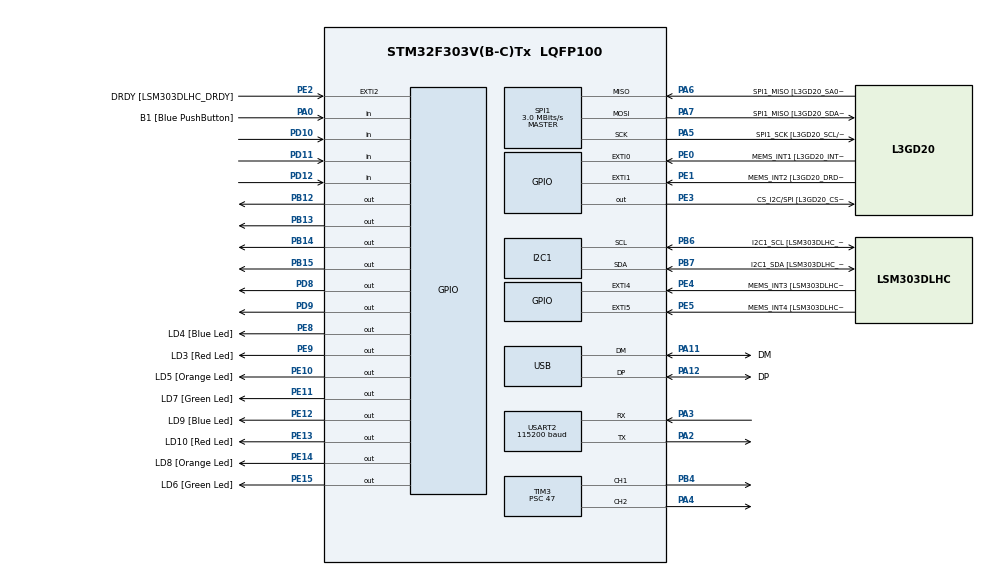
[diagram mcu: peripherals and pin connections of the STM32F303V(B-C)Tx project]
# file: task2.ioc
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I2C1.Timing=0x00201D2B
I2C1.Timing-I2C=0x2000090E
Mcu.Family=STM32F3
Mcu.Name=STM32F303V(B-C)Tx
Mcu.Package=LQFP100
NVIC.PriorityGroup=NVIC_PRIORITYGROUP_0
NVIC.TIM2_IRQn=true\:0\:0\:false\:false\:true\:true\:true\:true
NVIC.TIM3_IRQn=true\:0\:0\:false\:false\:true\:true\:true\:true
NVIC.USB_LP_CAN_RX0_IRQn=true\:0\:0\:false\:false\:true\:false\:true\:true
PA0.GPIO_Label=B1 [Blue PushButton]
PA0.Signal=GPIO_Input
PA11.GPIO_Label=DM
PA11.Mode=Device
PA11.Signal=USB_DM
PA12.GPIO_Label=DP
PA12.Mode=Device
PA12.Signal=USB_DP
PA13.GPIO_Label=SWDIO
PA13.Mode=Serial_Wire
PA13.Signal=SYS_JTMS-SWDIO
PA14.GPIO_Label=SWCLK
PA14.Mode=Serial_Wire
PA14.Signal=SYS_JTCK-SWCLK
PA2.Mode=Asynchronous
PA2.Signal=USART2_TX
PA3.Mode=Asynchronous
PA3.Signal=USART2_RX
PA4.Signal=S_TIM3_CH2
PA5.GPIO_Label=SPI1_SCK [L3GD20_SCL/SPC]
PA5.Mode=Full_Duplex_Master
PA5.Signal=SPI1_SCK
PA6.GPIO_Label=SPI1_MISO [L3GD20_SA0/SDO]
PA6.Mode=Full_Duplex_Master
PA6.Signal=SPI1_MISO
PA7.GPIO_Label=SPI1_MISO [L3GD20_SDA/SDI/SDO]
PA7.Mode=Full_Duplex_Master
PA7.Signal=SPI1_MOSI
PB12.Signal=GPIO_Output
PB13.Signal=GPIO_Output
PB14.Signal=GPIO_Output
PB15.Signal=GPIO_Output
PB3.GPIO_Label=SWO
PB3.Signal=SYS_JTDO-TRACESWO
PB4.Signal=S_TIM3_CH1
PB6.GPIO_Label=I2C1_SCL [LSM303DLHC_SCL]
PB6.GPIO_Pu=GPIO_PULLUP
PB6.Mode=I2C
PB6.Signal=I2C1_SCL
PB7.GPIO_Label=I2C1_SDA [LSM303DLHC_SDA]
PB7.GPIO_Pu=GPIO_PULLUP
PB7.Mode=I2C
PB7.Signal=I2C1_SDA
PC14-OSC32_IN.GPIO_Label=OSC32_IN
PC14-OSC32_IN.Signal=RCC_OSC32_IN
PC15-OSC32_OUT.GPIO_Label=OSC32_OUT
PC15-OSC32_OUT.Signal=RCC_OSC32_OUT
PD10.Signal=GPIO_Input
PD11.Signal=GPIO_Input
PD12.Signal=GPIO_Input
PD8.Signal=GPIO_Output
PD9.Signal=GPIO_Output
PE0.GPIO_Label=MEMS_INT1 [L3GD20_INT1]
PE0.GPIO_ModeDefaultEXTI=GPIO_MODE_EVT_RISING
PE0.Signal=GPXTI0
PE1.GPIO_Label=MEMS_INT2 [L3GD20_DRDY/INT2]
PE1.GPIO_ModeDefaultEXTI=GPIO_MODE_EVT_RISING
PE1.Signal=GPXTI1
PE10.GPIO_Label=LD5 [Orange Led]
PE10.Signal=GPIO_Output
PE11.GPIO_Label=LD7 [Green Led]
PE11.Signal=GPIO_Output
PE12.GPIO_Label=LD9 [Blue Led]
PE12.Signal=GPIO_Output
PE13.GPIO_Label=LD10 [Red Led]
PE13.Signal=GPIO_Output
PE14.GPIO_Label=LD8 [Orange Led]
PE14.Signal=GPIO_Output
PE15.GPIO_Label=LD6 [Green Led]
PE15.Signal=GPIO_Output
PE2.GPIO_Label=DRDY [LSM303DLHC_DRDY]
PE2.GPIO_ModeDefaultEXTI=GPIO_MODE_EVT_RISING
PE2.Signal=GPXTI2
PE3.GPIO_Label=CS_I2C/SPI [L3GD20_CS_I2C/SPI]
PE3.Signal=GPIO_Output
PE4.GPIO_Label=MEMS_INT3 [LSM303DLHC_INT1]
PE4.GPIO_ModeDefaultEXTI=GPIO_MODE_EVT_RISING
PE4.Signal=GPXTI4
PE5.GPIO_Label=MEMS_INT4 [LSM303DLHC_INT2]
PE5.GPIO_ModeDefaultEXTI=GPIO_MODE_EVT_RISING
PE5.Signal=GPXTI5
PE8.GPIO_Label=LD4 [Blue Led]
PE8.Signal=GPIO_Output
PE9.GPIO_Label=LD3 [Red Led]
PE9.Signal=GPIO_Output
PF0-OSC_IN.GPIO_Label=OSC_IN
PF0-OSC_IN.Mode=HSE-External-Clock-Source
PF0-OSC_IN.Signal=RCC_OSC_IN
PF1-OSC_OUT.GPIO_Label=OSC_OUT
PF1-OSC_OUT.Signal=RCC_OSC_OUT
ProjectManager.HeapSize=0x200
ProjectManager.StackSize=0x400
ProjectManager.TargetToolchain=CMake
RCC.AHBFreq_Value=48000000
RCC.APB1CLKDivider=RCC_HCLK_DIV2
RCC.APB1Freq_Value=24000000
RCC.APB1TimFreq_Value=48000000
RCC.APB2Freq_Value=48000000
RCC.APB2TimFreq_Value=48000000
RCC.CortexFreq_Value=48000000
RCC.HCLKFreq_Value=48000000
RCC.HSE_VALUE=8000000
RCC.HSI_VALUE=8000000
RCC.LSE_VALUE=32768
RCC.PLLMUL=RCC_PLL_MUL6
RCC.SYSCLKFreq_VALUE=48000000
RCC.SYSCLKSourceVirtual=RCC_SYSCLKSOURCE_PLLCLK
RCC.USBFreq_Value=48000000
SH.S_TIM3_CH1.0=TIM3_CH1,PWM Generation1 CH1
SH.S_TIM3_CH2.0=TIM3_CH2,PWM Generation2 CH2
SPI1.BaudRatePrescaler=SPI_BAUDRATEPRESCALER_16
SPI1.BaudRatePrescaler-Full_Duplex_Master=SPI_BAUDRATEPRESCALER_2
SPI1.CLKPhase=SPI_PHASE_2EDGE
SPI1.CLKPolarity=SPI_POLARITY_HIGH
SPI1.CalculateBaudRate=3.0 MBits/s
SPI1.CalculateBaudRate-Full_Duplex_Master=24.0 MBits/s
SPI1.DataSize=SPI_DATASIZE_8BIT
SPI1.Direction=SPI_DIRECTION_2LINES
SPI1.Mode=SPI_MODE_MASTER
SPI1.Mode-Full_Duplex_Master=SPI_MODE_MASTER
SPI1.VirtualType=VM_MASTER
TIM2.Period=4999
TIM2.Prescaler=47
TIM3.Channel-PWM\ Generation1\ CH1=TIM_CHANNEL_1
TIM3.Channel-PWM\ Generation2\ CH2=TIM_CHANNEL_2
TIM3.Period=999
TIM3.Prescaler=47
USART2.BaudRate=115200
USART2.VirtualMode-Asynchronous=VM_ASYNC
USB_DEVICE.CLASS_NAME_FS=CDC
USB_DEVICE.VirtualMode=Cdc
USB_DEVICE.VirtualModeFS=Cdc_FS
VP_TIM2_VS_ClockSourceINT.Mode=Internal
VP_TIM3_VS_ClockSourceINT.Mode=Internal
VP_USB_DEVICE_VS_USB_DEVICE_CDC_FS.Mode=CDC_FS
board=STM32F3DISCOVERY

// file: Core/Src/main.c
/* USER CODE BEGIN Header */
/**
******************************************************************************
* @file : main.c
* @brief : Lab 11 Task 2 - PID Controller for Self-Balancing Robot
******************************************************************************
* TIM2 = 200Hz control loop ISR (complementary filter + PID)
* TIM3 = PWM generation for motors (CH1=left on PB4, CH2=right on PA4)
* Motor direction pins:
* Left motor: PB12 (IN1), PB13 (IN2)
* Right motor: PB14 (IN1), PB15 (IN2)
******************************************************************************
*/
/* USER CODE END Header */
#include "main.h"
#include "usb_device.h"

/* USER CODE BEGIN Includes */
#include <math.h>
#include <stdio.h>
#include <string.h>
#include <stdarg.h>
/* USER CODE END Includes */

/* USER CODE BEGIN PD */

// Sampling Time
#define DT 0.005f

// PID Controller Structure
typedef struct {
float kp; // Proportional gain
float ki; // Integral gain
float kd; // Derivative gain
float setpoint; // Target angle (degrees)
float integral; // Accumulated integral error
float prev_error; // Previous error for derivative
float output_max; // Maximum output limit
float output_min; // Minimum output limit
float integral_max; // Anti-windup limit (positive)
float integral_min; // Anti-windup limit (negative)
} PIDController;

// Sensor Fusion Structure
typedef struct {
float gyro_rate_dps; // Gyro angular velocity (deg/s)
float acc_angle_deg; // Accelerometer-derived angle (deg)
float tilt_angle; // Fused tilt angle estimate (deg)
} AngleEstimate;

// // PID Gains
// #define KP 80.0f
// #define KI 0.08f
// #define KD 2.10f

// PID Gains - Initial Starting Point (will be updated by adaptive scheduling)
#define KP_DEFAULT 70.0f
#define KI_DEFAULT 0.02f
#define KD_DEFAULT 1.4f

// Setpoint
#define SETPOINT 0.0f

// Adaptive Gain Scheduling Thresholds (in degrees)
#define ANGLE_THRESHOLD_LOW 2.0f // < 2°: conservative gains
#define ANGLE_THRESHOLD_HIGH 8.0f // > 8°: aggressive gains

// Conservative Gains (near upright, small angle) - Stable, low overshoot
#define KP_CONSERVATIVE 55.0f
#define KI_CONSERVATIVE 0.01f
#define KD_CONSERVATIVE 1.0f

// Medium Gains (medium angle) - Balanced response
#define KP_MEDIUM 70.0f
#define KI_MEDIUM 0.04f
#define KD_MEDIUM 1.4f

// Aggressive Gains (large angle) - Fast correction
#define KP_AGGRESSIVE 80.0f
#define KI_AGGRESSIVE 0.06f
#define KD_AGGRESSIVE 2.0f

// Start from zero; runtime calibration computes the actual offsets.
#define ACC_CALIBRATION_OFFSET 0.0f

// Upright deadband in degrees. Inside this band, stop the motors.
#define BALANCE_DEADBAND_DEG 0.2f

// Motor matching and anti-creep settings
#define MOTOR_CMD_DEADZONE 25.0f // PID command below this is treated as zero
#define MOTOR_MIN_START_PWM 90u // Overcome static friction
#define LEFT_MOTOR_GAIN 1.00f
#define RIGHT_MOTOR_GAIN 1.15f // Right wheel boost (was slower)

// Output Limits
#define PID_OUT_MAX 999.0f
#define PID_OUT_MIN -999.0f

// Integral Anti-Windup Limit
#define INTEGRAL_MAX 200.0f
#define INTEGRAL_MIN -200.0f

// Complementary Filter Weights
#define COMP_GYRO_WEIGHT 0.98f
#define COMP_ACC_WEIGHT 0.02f

// Sensor Configuration
#define GYRO_SCALE_DPS 0.00875f
#define GYRO_OUT_Y_L_REG 0x2A // Y-axis output low byte
#define GYRO_OUT_Y_H_REG 0x2B // Y-axis output high byte
#define ACC_ADDRESS_WRITE 0x32 // I2C write address
#define ACC_ADDRESS_READ 0x33 // I2C read address
#define ACC_OUT_X_PAGE 0x28 // Output X register
#define ACC_READ_AUTOINC 0x80 // Auto-increment bit for I2C

/* USER CODE END PD */

I2C_HandleTypeDef hi2c1;

SPI_HandleTypeDef hspi1;

TIM_HandleTypeDef htim2;
TIM_HandleTypeDef htim3;

UART_HandleTypeDef huart2;

/* USER CODE BEGIN PV */

// Angle Estimation Variables
volatile float shared_angle = 0.0f; // Bridge between ISR and main
volatile float shared_pid_out = 0.0f; // PID output for display
volatile uint8_t display_flag = 0;

// Sensor measurements for display/debug
volatile float gyro_rate = 0.0f;
volatile float acc_angle = 0.0f;

// Runtime calibration values
float gyro_bias = 0.0f;
float acc_offset = ACC_CALIBRATION_OFFSET;

/* USER CODE END PV */

void SystemClock_Config(void);
static void MX_GPIO_Init(void);
static void MX_I2C1_Init(void);
static void MX_SPI1_Init(void);
static void MX_TIM3_Init(void);
static void MX_TIM2_Init(void);
static void MX_USART2_UART_Init(void);

/* USER CODE BEGIN 0 */

uint8_t I3G_ReadReg(uint8_t reg_addr) {
uint8_t tx_data = reg_addr | 0x80; // Bit 7 = 1 for READ
uint8_t rx_data;

HAL_GPIO_WritePin(GPIOE, GPIO_PIN_3, GPIO_PIN_RESET);
HAL_SPI_Transmit(&hspi1, &tx_data, 1, HAL_MAX_DELAY);
HAL_SPI_Receive(&hspi1, &rx_data, 1, HAL_MAX_DELAY);
HAL_GPIO_WritePin(GPIOE, GPIO_PIN_3, GPIO_PIN_SET);

return rx_data;
}

// Helper Functions for Sensor Data Acquisition

float Read_Gyro_Y_Raw(void) {
uint8_t y_low = I3G_ReadReg(GYRO_OUT_Y_L_REG);
uint8_t y_high = I3G_ReadReg(GYRO_OUT_Y_H_REG);
int16_t raw_gyro_y = (int16_t)((y_high << 8) | y_low);
return (float)raw_gyro_y * GYRO_SCALE_DPS;
}

// Read gyroscope Y-axis with runtime bias correction
float Read_Gyro_Y(void) {
return Read_Gyro_Y_Raw() - gyro_bias;
}

float Read_Acc_Pitch_Raw(void) {
uint8_t acc_reg = ACC_OUT_X_PAGE | ACC_READ_AUTOINC;
uint8_t acc_buf[6] = {0};

HAL_I2C_Master_Transmit(&hi2c1, ACC_ADDRESS_WRITE, &acc_reg, 1, 10);
HAL_I2C_Master_Receive(&hi2c1, ACC_ADDRESS_READ, acc_buf, 6, 10);

int16_t acc_raw_x = (int16_t)((acc_buf[1] << 8) | acc_buf[0]);
int16_t acc_raw_z = (int16_t)((acc_buf[5] << 8) | acc_buf[4]);

return atan2f((float)acc_raw_x, (float)acc_raw_z) * (180.0f / 3.14159f);
}

// Read accelerometer pitch with runtime offset correction
float Read_Acc_Pitch(void) {
return Read_Acc_Pitch_Raw() + acc_offset;
}

// Initialize PID controller with default values
void PID_Init(PIDController *pid) {
pid->kp = KP_DEFAULT;
pid->ki = KI_DEFAULT;
pid->kd = KD_DEFAULT;
pid->setpoint = SETPOINT;
pid->integral = 0.0f;
pid->prev_error = 0.0f;
pid->output_max = PID_OUT_MAX;
pid->output_min = PID_OUT_MIN;
pid->integral_max = INTEGRAL_MAX;
pid->integral_min = INTEGRAL_MIN;
}

// Compute PID output given measured error
float PID_Update(PIDController *pid, float error) {
// P
float p_term = pid->kp * error;

// I
pid->integral += pid->ki * error * DT;
if (pid->integral > pid->integral_max) pid->integral = pid->integral_max;
if (pid->integral < pid->integral_min) pid->integral = pid->integral_min;

// D
float derivative = (error - pid->prev_error) / DT;
float d_term = pid->kd * derivative;
pid->prev_error = error;

// Total PID
float output = p_term + pid->integral + d_term;

// final output
if (output > pid->output_max) output = pid->output_max;
if (output < pid->output_min) output = pid->output_min;

return output;
}

// ============================================================
// Adaptive Gain Scheduling
// ============================================================
// Adjusts PID gains based on the magnitude of the tilt angle.
// Smaller angles near upright use conservative (stable) gains.
// Larger angles during falling use aggressive (corrective) gains.
void PID_Update_Gains_Adaptive(PIDController *pid, float tilt_angle_deg) {
float abs_angle = fabsf(tilt_angle_deg);
if (abs_angle < ANGLE_THRESHOLD_LOW) {
// Very small angle: use conservative gains for stability
pid->kp = KP_CONSERVATIVE;
pid->ki = KI_CONSERVATIVE;
pid->kd = KD_CONSERVATIVE;
}
else if (abs_angle < ANGLE_THRESHOLD_HIGH) {
// Medium angle: use medium gains for balanced response
pid->kp = KP_MEDIUM;
pid->ki = KI_MEDIUM;
pid->kd = KD_MEDIUM;
}
else {
// Large angle: use aggressive gains for fast correction
pid->kp = KP_AGGRESSIVE;
pid->ki = KI_AGGRESSIVE;
pid->kd = KD_AGGRESSIVE;
}
}

// Complementary Filter for Angle Estimation
float Complementary_Filter(float prev_angle, float gyro_rate_dps, float acc_angle_deg) {
float gyro_contribution = (prev_angle + gyro_rate_dps * DT) * COMP_GYRO_WEIGHT;
float acc_contribution = acc_angle_deg * COMP_ACC_WEIGHT;
return gyro_contribution + acc_contribution;
}

// Gyroscope SPI Register Access
void I3G_WriteReg(uint8_t reg_addr, uint8_t data) {
uint8_t tx_buffer[2];
tx_buffer[0] = reg_addr & 0x7F;
tx_buffer[1] = data;

HAL_GPIO_WritePin(GPIOE, GPIO_PIN_3, GPIO_PIN_RESET); // CS LOW
HAL_SPI_Transmit(&hspi1, tx_buffer, 2, HAL_MAX_DELAY);
HAL_GPIO_WritePin(GPIOE, GPIO_PIN_3, GPIO_PIN_SET); // CS HIGH
}

/*
* Motor Control Functions
*
*
* Left Motor:
* PWM -> TIM3_CH1 (PB4)
* IN1 -> PB12 => Shield pin D6
* IN2 -> PB13 => Shield pin D7
*
* Right Motor:
* PWM -> TIM3_CH2 (PA4) => Shield pin D10
* IN1 -> PB14 => Shield pin D8
* IN2 -> PB15 => Shield pin D12
*
* Direction logic (L298N style):
* Forward (CW): IN1=HIGH, IN2=LOW
* Backward (CCW): IN1=LOW, IN2=HIGH
* Brake/Stop: IN1=LOW, IN2=LOW
*/

// void Motor_Left_Forward(uint16_t speed) {
// HAL_GPIO_WritePin(GPIOB, GPIO_PIN_12, GPIO_PIN_RESET); // IN1 = HIGH
// HAL_GPIO_WritePin(GPIOB, GPIO_PIN_13, GPIO_PIN_SET); // IN2 = LOW
// __HAL_TIM_SET_COMPARE(&htim3, TIM_CHANNEL_1, speed);
// }

// void Motor_Left_Backward(uint16_t speed) {
// HAL_GPIO_WritePin(GPIOB, GPIO_PIN_12, GPIO_PIN_SET); // IN1 = LOW
// HAL_GPIO_WritePin(GPIOB, GPIO_PIN_13, GPIO_PIN_RESET); // IN2 = HIGH
// __HAL_TIM_SET_COMPARE(&htim3, TIM_CHANNEL_1, speed);
// }

void Motor_Left_Forward(uint16_t speed) {
HAL_GPIO_WritePin(GPIOB, GPIO_PIN_12, GPIO_PIN_SET); // IN1 = HIGH
HAL_GPIO_WritePin(GPIOB, GPIO_PIN_13, GPIO_PIN_RESET); // IN2 = LOW
__HAL_TIM_SET_COMPARE(&htim3, TIM_CHANNEL_1, speed);
}

void Motor_Left_Backward(uint16_t speed) {
HAL_GPIO_WritePin(GPIOB, GPIO_PIN_12, GPIO_PIN_RESET); // IN1 = LOW
HAL_GPIO_WritePin(GPIOB, GPIO_PIN_13, GPIO_PIN_SET); // IN2 = HIGH
__HAL_TIM_SET_COMPARE(&htim3, TIM_CHANNEL_1, speed);
}

void Motor_Left_Stop(void) {
HAL_GPIO_WritePin(GPIOB, GPIO_PIN_12, GPIO_PIN_RESET);
HAL_GPIO_WritePin(GPIOB, GPIO_PIN_13, GPIO_PIN_RESET);
__HAL_TIM_SET_COMPARE(&htim3, TIM_CHANNEL_1, 0);
}

void Motor_Right_Forward(uint16_t speed) {
// SWAP THESE: Original was SET then RESET
HAL_GPIO_WritePin(GPIOB, GPIO_PIN_14, GPIO_PIN_RESET); // IN1 = LOW
HAL_GPIO_WritePin(GPIOB, GPIO_PIN_15, GPIO_PIN_SET); // IN2 = HIGH
__HAL_TIM_SET_COMPARE(&htim3, TIM_CHANNEL_2, speed);
}

void Motor_Right_Backward(uint16_t speed) {
// SWAP THESE: Original was RESET then SET
HAL_GPIO_WritePin(GPIOB, GPIO_PIN_14, GPIO_PIN_SET); // IN1 = HIGH
HAL_GPIO_WritePin(GPIOB, GPIO_PIN_15, GPIO_PIN_RESET); // IN2 = LOW
__HAL_TIM_SET_COMPARE(&htim3, TIM_CHANNEL_2, speed);
// }

// void Motor_Right_Forward(uint16_t speed) {
// HAL_GPIO_WritePin(GPIOB, GPIO_PIN_14, GPIO_PIN_SET); // IN1 = HIGH
// HAL_GPIO_WritePin(GPIOB, GPIO_PIN_15, GPIO_PIN_RESET); // IN2 = LOW
// __HAL_TIM_SET_COMPARE(&htim3, TIM_CHANNEL_2, speed);
// }

// void Motor_Right_Backward(uint16_t speed) {
// HAL_GPIO_WritePin(GPIOB, GPIO_PIN_14, GPIO_PIN_RESET); // IN1 = LOW
// HAL_GPIO_WritePin(GPIOB, GPIO_PIN_15, GPIO_PIN_SET); // IN2 = HIGH
// __HAL_TIM_SET_COMPARE(&htim3, TIM_CHANNEL_2, speed);
}

void Motor_Right_Stop(void) {
HAL_GPIO_WritePin(GPIOB, GPIO_PIN_14, GPIO_PIN_RESET);
HAL_GPIO_WritePin(GPIOB, GPIO_PIN_15, GPIO_PIN_RESET);
__HAL_TIM_SET_COMPARE(&htim3, TIM_CHANNEL_2, 0);
}

static uint16_t Scale_Motor_PWM(float base_pwm, float gain) {
float pwm = base_pwm * gain;

if (pwm > 0.0f && pwm < (float)MOTOR_MIN_START_PWM) {
pwm = (float)MOTOR_MIN_START_PWM;
}

if (pwm > PID_OUT_MAX) {
pwm = PID_OUT_MAX;
}

return (uint16_t)pwm;
}

void Motors_Stop(void) {
Motor_Left_Stop();
Motor_Right_Stop();
}

void Motors_Drive(float pid_output) {
float cmd = fabsf(pid_output);

// Suppress tiny commands that cause one-wheel creeping near upright.
if (cmd < MOTOR_CMD_DEADZONE) {
Motors_Stop();
return;
}

uint16_t left_pwm = Scale_Motor_PWM(cmd, LEFT_MOTOR_GAIN);
uint16_t right_pwm = Scale_Motor_PWM(cmd, RIGHT_MOTOR_GAIN);

if (pid_output > 0.0f) {
// Positive output: drive forward
Motor_Left_Forward(left_pwm);
Motor_Right_Forward(right_pwm);
}
else if (pid_output < 0.0f) {
// Negative output: drive backward
Motor_Left_Backward(left_pwm);
Motor_Right_Backward(right_pwm);
}
else {
// Zero output: stop motors
Motor_Left_Stop();
Motor_Right_Stop();
}
}

void cout(const char *fmt, ...) {
char buffer[128];
va_list args;
va_start(args, fmt);
int l = vsnprintf(buffer, sizeof(buffer), fmt, args);
va_end(args);
if (l > 0) {
HAL_UART_Transmit(&huart2, (uint8_t*)buffer, l, HAL_MAX_DELAY);
}
}

void Reset_Calibration(void) {
gyro_bias = 0.0f;
acc_offset = ACC_CALIBRATION_OFFSET;
}

void Calibrate_Sensors_Zero(void) {
const int gyro_samples = 300;
const int acc_samples = 300;
float sum_gyro = 0.0f;
float sum_acc = 0.0f;

//cout("Calib: keep robot upright and still...\r\n");

for (int i = 0; i < gyro_samples; i++) {
sum_gyro += Read_Gyro_Y_Raw();
HAL_Delay(2);
}

gyro_bias = sum_gyro / (float)gyro_samples;

for (int i = 0; i < acc_samples; i++) {
sum_acc += Read_Acc_Pitch_Raw();
HAL_Delay(2);
}

// Make measured upright angle become 0 deg.
acc_offset = -(sum_acc / (float)acc_samples);

int32_t gyro_bias_mdps = (int32_t)(gyro_bias * 1000.0f);
int32_t acc_offset_mdeg = (int32_t)(acc_offset * 1000.0f);
// cout("Calib done: GB=%ld mdps AO=%ld mdeg\r\n",
// (long)gyro_bias_mdps,
// (long)acc_offset_mdeg);
}

/* USER CODE END 0 */

int main(void)
{

/* USER CODE BEGIN 1 */
// PIDController pid_controller;
/* USER CODE END 1 */

/* Reset of all peripherals, Initializes the Flash interface and the Systick. */
HAL_Init();

/* Configure the system clock */
SystemClock_Config();

/* Initialize all configured peripherals */
MX_GPIO_Init();
MX_I2C1_Init();
MX_SPI1_Init();
MX_TIM3_Init();
MX_USB_DEVICE_Init();
MX_TIM2_Init();
MX_USART2_UART_Init();
/* USER CODE BEGIN 2 */
// 1. Initialize Sensors
I3G_WriteReg(0x20, 0x4F); // Gyro on
uint8_t acc_init[2] = {0x20, 0x57};
HAL_I2C_Master_Transmit(&hi2c1, 0x32, acc_init, 2, 50);

// Reset old offsets and calibrate fresh from zero.
Reset_Calibration();
Calibrate_Sensors_Zero();

// 2. Start PWM
HAL_TIM_PWM_Start(&htim3, TIM_CHANNEL_1);
HAL_TIM_PWM_Start(&htim3, TIM_CHANNEL_2);

// 3. Start Timer Interrupt
HAL_TIM_Base_Start_IT(&htim2);
/* USER CODE END 2 */

/* Infinite loop */
while (1)
{

/* USER CODE BEGIN 3 */

if (display_flag) {
display_flag = 0;

int32_t gyro_mdps = (int32_t)(gyro_rate * 1000.0f);
int32_t acc_mdeg = (int32_t)(acc_angle * 1000.0f);
int32_t angle_mdeg = (int32_t)(shared_angle * 1000.0f);
int32_t pid_mout = (int32_t)(shared_pid_out * 1000.0f);

cout("GYRO=%ld mdps ACC=%ld mdeg ANGLE=%ld mdeg PID=%ld m\r\n",
(long)gyro_mdps,
(long)acc_mdeg,
(long)angle_mdeg,
(long)pid_mout);
}
}
/* USER CODE END 3 */
}

void SystemClock_Config(void)
{
RCC_OscInitTypeDef RCC_OscInitStruct = {0};
RCC_ClkInitTypeDef RCC_ClkInitStruct = {0};
RCC_PeriphCLKInitTypeDef PeriphClkInit = {0};

/** Initializes the RCC Oscillators according to the specified parameters
* in the RCC_OscInitTypeDef structure.
*/
RCC_OscInitStruct.OscillatorType = RCC_OSCILLATORTYPE_HSI|RCC_OSCILLATORTYPE_HSE;
RCC_OscInitStruct.HSEState = RCC_HSE_BYPASS;
RCC_OscInitStruct.HSEPredivValue = RCC_HSE_PREDIV_DIV1;
RCC_OscInitStruct.HSIState = RCC_HSI_ON;
RCC_OscInitStruct.HSICalibrationValue = RCC_HSICALIBRATION_DEFAULT;
RCC_OscInitStruct.PLL.PLLState = RCC_PLL_ON;
RCC_OscInitStruct.PLL.PLLSource = RCC_PLLSOURCE_HSE;
RCC_OscInitStruct.PLL.PLLMUL = RCC_PLL_MUL6;
if (HAL_RCC_OscConfig(&RCC_OscInitStruct) != HAL_OK)
{
Error_Handler();
}

/** Initializes the CPU, AHB and APB buses clocks
*/
RCC_ClkInitStruct.ClockType = RCC_CLOCKTYPE_HCLK|RCC_CLOCKTYPE_SYSCLK
|RCC_CLOCKTYPE_PCLK1|RCC_CLOCKTYPE_PCLK2;
RCC_ClkInitStruct.SYSCLKSource = RCC_SYSCLKSOURCE_PLLCLK;
RCC_ClkInitStruct.AHBCLKDivider = RCC_SYSCLK_DIV1;
RCC_ClkInitStruct.APB1CLKDivider = RCC_HCLK_DIV2;
RCC_ClkInitStruct.APB2CLKDivider = RCC_HCLK_DIV1;

if (HAL_RCC_ClockConfig(&RCC_ClkInitStruct, FLASH_LATENCY_1) != HAL_OK)
{
Error_Handler();
}
PeriphClkInit.PeriphClockSelection = RCC_PERIPHCLK_USB|RCC_PERIPHCLK_USART2
|RCC_PERIPHCLK_I2C1;
PeriphClkInit.Usart2ClockSelection = RCC_USART2CLKSOURCE_PCLK1;
PeriphClkInit.I2c1ClockSelection = RCC_I2C1CLKSOURCE_HSI;
PeriphClkInit.USBClockSelection = RCC_USBCLKSOURCE_PLL;
if (HAL_RCCEx_PeriphCLKConfig(&PeriphClkInit) != HAL_OK)
{
Error_Handler();
}
}

static void MX_I2C1_Init(void)
{

hi2c1.Instance = I2C1;
hi2c1.Init.Timing = 0x00201D2B;
hi2c1.Init.OwnAddress1 = 0;
hi2c1.Init.AddressingMode = I2C_ADDRESSINGMODE_7BIT;
hi2c1.Init.DualAddressMode = I2C_DUALADDRESS_DISABLE;
hi2c1.Init.OwnAddress2 = 0;
hi2c1.Init.OwnAddress2Masks = I2C_OA2_NOMASK;
hi2c1.Init.GeneralCallMode = I2C_GENERALCALL_DISABLE;
hi2c1.Init.NoStretchMode = I2C_NOSTRETCH_DISABLE;
if (HAL_I2C_Init(&hi2c1) != HAL_OK)
{
Error_Handler();
}

/** Configure Analogue filter
*/
if (HAL_I2CEx_ConfigAnalogFilter(&hi2c1, I2C_ANALOGFILTER_ENABLE) != HAL_OK)
{
Error_Handler();
}

/** Configure Digital filter
*/
if (HAL_I2CEx_ConfigDigitalFilter(&hi2c1, 0) != HAL_OK)
{
Error_Handler();
}

}

static void MX_SPI1_Init(void)
{

/* SPI1 parameter configuration*/
hspi1.Instance = SPI1;
hspi1.Init.Mode = SPI_MODE_MASTER;
hspi1.Init.Direction = SPI_DIRECTION_2LINES;
hspi1.Init.DataSize = SPI_DATASIZE_8BIT;
hspi1.Init.CLKPolarity = SPI_POLARITY_HIGH;
hspi1.Init.CLKPhase = SPI_PHASE_2EDGE;
hspi1.Init.NSS = SPI_NSS_SOFT;
hspi1.Init.BaudRatePrescaler = SPI_BAUDRATEPRESCALER_16;
hspi1.Init.FirstBit = SPI_FIRSTBIT_MSB;
hspi1.Init.TIMode = SPI_TIMODE_DISABLE;
hspi1.Init.CRCCalculation = SPI_CRCCALCULATION_DISABLE;
hspi1.Init.CRCPolynomial = 7;
hspi1.Init.CRCLength = SPI_CRC_LENGTH_DATASIZE;
hspi1.Init.NSSPMode = SPI_NSS_PULSE_DISABLE;
if (HAL_SPI_Init(&hspi1) != HAL_OK)
{
Error_Handler();
}

}

static void MX_TIM2_Init(void)
{

TIM_ClockConfigTypeDef sClockSourceConfig = {0};
TIM_MasterConfigTypeDef sMasterConfig = {0};

htim2.Instance = TIM2;
htim2.Init.Prescaler = 47;
htim2.Init.CounterMode = TIM_COUNTERMODE_UP;
htim2.Init.Period = 4999;
htim2.Init.ClockDivision = TIM_CLOCKDIVISION_DIV1;
htim2.Init.AutoReloadPreload = TIM_AUTORELOAD_PRELOAD_DISABLE;
if (HAL_TIM_Base_Init(&htim2) != HAL_OK)
{
Error_Handler();
}
sClockSourceConfig.ClockSource = TIM_CLOCKSOURCE_INTERNAL;
if (HAL_TIM_ConfigClockSource(&htim2, &sClockSourceConfig) != HAL_OK)
{
Error_Handler();
}
sMasterConfig.MasterOutputTrigger = TIM_TRGO_RESET;
sMasterConfig.MasterSlaveMode = TIM_MASTERSLAVEMODE_DISABLE;
if (HAL_TIMEx_MasterConfigSynchronization(&htim2, &sMasterConfig) != HAL_OK)
{
Error_Handler();
}

}

static void MX_TIM3_Init(void)
{

TIM_ClockConfigTypeDef sClockSourceConfig = {0};
TIM_MasterConfigTypeDef sMasterConfig = {0};
TIM_OC_InitTypeDef sConfigOC = {0};

htim3.Instance = TIM3;
htim3.Init.Prescaler = 47;
htim3.Init.CounterMode = TIM_COUNTERMODE_UP;
htim3.Init.Period = 999;
htim3.Init.ClockDivision = TIM_CLOCKDIVISION_DIV1;
htim3.Init.AutoReloadPreload = TIM_AUTORELOAD_PRELOAD_DISABLE;
if (HAL_TIM_Base_Init(&htim3) != HAL_OK)
{
Error_Handler();
}
sClockSourceConfig.ClockSource = TIM_CLOCKSOURCE_INTERNAL;
if (HAL_TIM_ConfigClockSource(&htim3, &sClockSourceConfig) != HAL_OK)
{
Error_Handler();
}
if (HAL_TIM_PWM_Init(&htim3) != HAL_OK)
{
Error_Handler();
}
sMasterConfig.MasterOutputTrigger = TIM_TRGO_RESET;
sMasterConfig.MasterSlaveMode = TIM_MASTERSLAVEMODE_DISABLE;
if (HAL_TIMEx_MasterConfigSynchronization(&htim3, &sMasterConfig) != HAL_OK)
{
Error_Handler();
}
sConfigOC.OCMode = TIM_OCMODE_PWM1;
sConfigOC.Pulse = 0;
sConfigOC.OCPolarity = TIM_OCPOLARITY_HIGH;
sConfigOC.OCFastMode = TIM_OCFAST_DISABLE;
if (HAL_TIM_PWM_ConfigChannel(&htim3, &sConfigOC, TIM_CHANNEL_1) != HAL_OK)
{
Error_Handler();
}
if (HAL_TIM_PWM_ConfigChannel(&htim3, &sConfigOC, TIM_CHANNEL_2) != HAL_OK)
{
Error_Handler();
}
/* USER CODE BEGIN TIM3_Init 2 */

// ✨ INSERT THIS BLOCK RIGHT HERE ✨
// Enable the alternate function clock and set the remap for TIM3
// __HAL_RCC_AFIO_CLK_ENABLE();
// GPIO_PinRemapConfig(GPIO_PartialRemap_TIM3, ENABLE);
// **** END OF INSERTED BLOCK ****

/* USER CODE END TIM3_Init 2 */
HAL_TIM_MspPostInit(&htim3);

}

static void MX_USART2_UART_Init(void)
{

huart2.Instance = USART2;
huart2.Init.BaudRate = 115200;
huart2.Init.WordLength = UART_WORDLENGTH_8B;
huart2.Init.StopBits = UART_STOPBITS_1;
huart2.Init.Parity = UART_PARITY_NONE;
huart2.Init.Mode = UART_MODE_TX_RX;
huart2.Init.HwFlowCtl = UART_HWCONTROL_NONE;
huart2.Init.OverSampling = UART_OVERSAMPLING_16;
huart2.Init.OneBitSampling = UART_ONE_BIT_SAMPLE_DISABLE;
huart2.AdvancedInit.AdvFeatureInit = UART_ADVFEATURE_NO_INIT;
if (HAL_UART_Init(&huart2) != HAL_OK)
{
Error_Handler();
}

}

static void MX_GPIO_Init(void)
{
GPIO_InitTypeDef GPIO_InitStruct = {0};

/* GPIO Ports Clock Enable */
__HAL_RCC_GPIOE_CLK_ENABLE();
__HAL_RCC_GPIOC_CLK_ENABLE();
__HAL_RCC_GPIOF_CLK_ENABLE();
__HAL_RCC_GPIOA_CLK_ENABLE();
__HAL_RCC_GPIOB_CLK_ENABLE();
__HAL_RCC_GPIOD_CLK_ENABLE();

/*Configure GPIO pin Output Level */
HAL_GPIO_WritePin(GPIOE, CS_I2C_SPI_Pin|LD4_Pin|LD3_Pin|LD5_Pin
|LD7_Pin|LD9_Pin|LD10_Pin|LD8_Pin
|LD6_Pin, GPIO_PIN_RESET);

/*Configure GPIO pin Output Level */
HAL_GPIO_WritePin(GPIOB, GPIO_PIN_12|GPIO_PIN_13|GPIO_PIN_14|GPIO_PIN_15, GPIO_PIN_RESET);

/*Configure GPIO pin Output Level */
HAL_GPIO_WritePin(GPIOD, GPIO_PIN_8|GPIO_PIN_9, GPIO_PIN_RESET);

/*Configure GPIO pins : DRDY_Pin MEMS_INT3_Pin MEMS_INT4_Pin MEMS_INT1_Pin
MEMS_INT2_Pin */
GPIO_InitStruct.Pin = DRDY_Pin|MEMS_INT3_Pin|MEMS_INT4_Pin|MEMS_INT1_Pin
|MEMS_INT2_Pin;
GPIO_InitStruct.Mode = GPIO_MODE_EVT_RISING;
GPIO_InitStruct.Pull = GPIO_NOPULL;
HAL_GPIO_Init(GPIOE, &GPIO_InitStruct);

/*Configure GPIO pins : CS_I2C_SPI_Pin LD4_Pin LD3_Pin LD5_Pin
LD7_Pin LD9_Pin LD10_Pin LD8_Pin
LD6_Pin */
GPIO_InitStruct.Pin = CS_I2C_SPI_Pin|LD4_Pin|LD3_Pin|LD5_Pin
|LD7_Pin|LD9_Pin|LD10_Pin|LD8_Pin
|LD6_Pin;
GPIO_InitStruct.Mode = GPIO_MODE_OUTPUT_PP;
GPIO_InitStruct.Pull = GPIO_NOPULL;
GPIO_InitStruct.Speed = GPIO_SPEED_FREQ_LOW;
HAL_GPIO_Init(GPIOE, &GPIO_InitStruct);

/*Configure GPIO pin : B1_Pin */
GPIO_InitStruct.Pin = B1_Pin;
GPIO_InitStruct.Mode = GPIO_MODE_INPUT;
GPIO_InitStruct.Pull = GPIO_NOPULL;
HAL_GPIO_Init(B1_GPIO_Port, &GPIO_InitStruct);

/*Configure GPIO pins : PB12 PB13 PB14 PB15 */
GPIO_InitStruct.Pin = GPIO_PIN_12|GPIO_PIN_13|GPIO_PIN_14|GPIO_PIN_15;
GPIO_InitStruct.Mode = GPIO_MODE_OUTPUT_PP;
GPIO_InitStruct.Pull = GPIO_NOPULL;
GPIO_InitStruct.Speed = GPIO_SPEED_FREQ_LOW;
HAL_GPIO_Init(GPIOB, &GPIO_InitStruct);

/*Configure GPIO pins : PD8 PD9 */
GPIO_InitStruct.Pin = GPIO_PIN_8|GPIO_PIN_9;
GPIO_InitStruct.Mode = GPIO_MODE_OUTPUT_PP;
GPIO_InitStruct.Pull = GPIO_NOPULL;
GPIO_InitStruct.Speed = GPIO_SPEED_FREQ_LOW;
HAL_GPIO_Init(GPIOD, &GPIO_InitStruct);

/*Configure GPIO pins : PD10 PD11 PD12 */
GPIO_InitStruct.Pin = GPIO_PIN_10|GPIO_PIN_11|GPIO_PIN_12;
GPIO_InitStruct.Mode = GPIO_MODE_INPUT;
GPIO_InitStruct.Pull = GPIO_NOPULL;
HAL_GPIO_Init(GPIOD, &GPIO_InitStruct);

}

/* USER CODE BEGIN 4 */

/* ============================================================
* TIM2 ISR Callback — runs at 200 Hz (every 5ms)
*
* This is the HEART of the system. It does:
* 1) Read gyroscope (SPI)
* 2) Read accelerometer (I2C)
* 3) Complementary filter -> tilt angle
* 4) PID controller -> motor command
* 5) Drive motors
* 6) Throttle UART display to ~10 Hz
* ============================================================ */

void HAL_TIM_PeriodElapsedCallback(TIM_HandleTypeDef *htim) {
if (htim->Instance != TIM2) return;

static PIDController pid_ctrl = {0};
static float tilt_angle = 0.0f;
static uint8_t initialized = 0;
static int uart_counter = 0;

if (!initialized) {
PID_Init(&pid_ctrl);
initialized = 1;
}

// Read sensor data
float gyro_rate_dps = Read_Gyro_Y();
float acc_angle_deg = Read_Acc_Pitch();

// Apply complementary filter
tilt_angle = Complementary_Filter(tilt_angle, gyro_rate_dps, acc_angle_deg);

// Calculate error
float error = pid_ctrl.setpoint - tilt_angle;

// Always compute PID output
float pid_output = PID_Update(&pid_ctrl, error);
PID_Update_Gains_Adaptive(&pid_ctrl, tilt_angle);

// Apply deadband - stop motors for very small errors
if (fabsf(error) <= BALANCE_DEADBAND_DEG) {
pid_output = 0.0f;
pid_ctrl.integral = 0.0f;
pid_ctrl.prev_error = 0.0f;
Motors_Stop();
} else {
// Limit output for safety
if (pid_output > 500.0f) pid_output = 500.0f;
if (pid_output < -500.0f) pid_output = -500.0f;
Motors_Drive(pid_output);
}

// FALL DETECTION: If robot tilts too much, stop everything
if (fabsf(tilt_angle) > 35.0f) {
Motors_Stop();

// Reset PID to avoid sudden jump when restarting
pid_ctrl.integral = 0.0f;
pid_ctrl.prev_error = 0.0f;

shared_pid_out = 0.0f;

return; // Skip rest of control loop
}

// // Update shared variables for display
// shared_angle = tilt_angle;
// shared_pid_out = pid_output;
// gyro_rate = gyro_rate_dps;
// acc_angle = acc_angle_deg;

// // Throttle serial display to 10Hz (every 20 iterations at 200Hz)
// if (++uart_counter >= 20) {
// display_flag = 1;
// uart_counter = 0;
// }
}

/* USER CODE END 4 */

void Error_Handler(void)
{
__disable_irq();
while (1)
{
}
}
